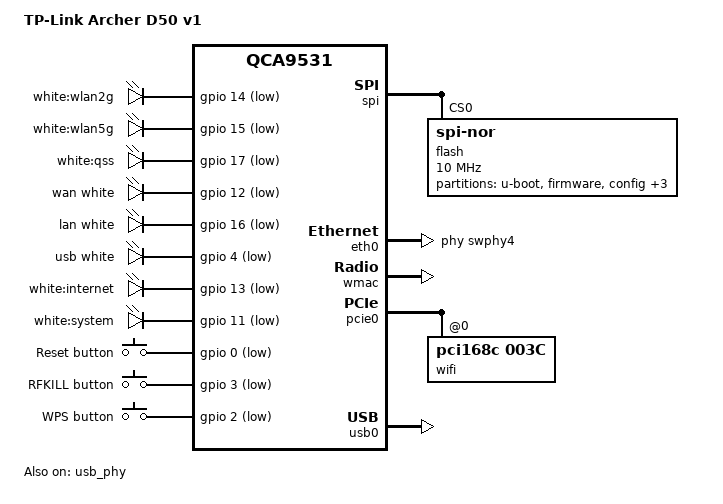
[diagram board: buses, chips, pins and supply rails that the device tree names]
// SPDX-License-Identifier: GPL-2.0-or-later OR MIT

#include "qca953x.dtsi"

#include <dt-bindings/gpio/gpio.h>
#include <dt-bindings/input/input.h>
#include <dt-bindings/leds/common.h>

/ {
	compatible = "tplink,archer-d50-v1", "qca,qca9531";
	model = "TP-Link Archer D50 v1";

	aliases {
		led-boot = &led_system;
		led-failsafe = &led_system;
		led-running = &led_system;
		led-upgrade = &led_system;
		label-mac-device = &wmac;
	};

	leds {
		compatible = "gpio-leds";

		wlan2g {
			label = "white:wlan2g";
			gpios = <&gpio 14 GPIO_ACTIVE_LOW>;
			linux,default-trigger = "phy0tpt";
		};

		wlan5g {
			label = "white:wlan5g";
			gpios = <&gpio 15 GPIO_ACTIVE_LOW>;
			linux,default-trigger = "phy1tpt";
		};

		qss {
			label = "white:qss";
			gpios = <&gpio 17 GPIO_ACTIVE_LOW>;
		};

		wan {
			function = LED_FUNCTION_WAN;
			color = <LED_COLOR_ID_WHITE>;
			gpios = <&gpio 12 GPIO_ACTIVE_LOW>;
		};

		lan {
			function = LED_FUNCTION_LAN;
			color = <LED_COLOR_ID_WHITE>;
			gpios = <&gpio 16 GPIO_ACTIVE_LOW>;
		};

		usb {
			function = LED_FUNCTION_USB;
			color = <LED_COLOR_ID_WHITE>;
			gpios = <&gpio 4 GPIO_ACTIVE_LOW>;
			trigger-sources = <&hub_port0>;
			linux,default-trigger = "usbport";
		};

		internet {
			label = "white:internet";
			gpios = <&gpio 13 GPIO_ACTIVE_LOW>;
		};

		led_system: system {
			label = "white:system";
			gpios = <&gpio 11 GPIO_ACTIVE_LOW>;
			default-state = "on";
		};
	};

	keys {
		compatible = "gpio-keys";

		reset {
			label = "Reset button";
			linux,code = <KEY_RESTART>;
			gpios = <&gpio 0 GPIO_ACTIVE_LOW>;
		};

		rfkill {
			label = "RFKILL button";
			linux,code = <KEY_RFKILL>;
			gpios = <&gpio 3 GPIO_ACTIVE_LOW>;
		};

		wps {
			label = "WPS button";
			linux,code = <KEY_WPS_BUTTON>;
			gpios = <&gpio 2 GPIO_ACTIVE_LOW>;
		};
	};
};

&spi {
	status = "okay";

	flash@0 {
		compatible = "jedec,spi-nor";
		reg = <0>;
		spi-max-frequency = <10000000>;

		partitions {
			compatible = "fixed-partitions";
			#address-cells = <1>;
			#size-cells = <1>;

			partition@0 {
				label = "u-boot";
				reg = <0x000000 0x020000>;
				read-only;
			};

			partition@20000 {
				compatible = "tplink,firmware";
				label = "firmware";
				reg = <0x020000 0x7a0000>;
			};

			partition@7c0000 {
				label = "config";
				reg = <0x7c0000 0x010000>;
				read-only;
			};

			romfile: partition@7d0000 {
				label = "romfile";
				reg = <0x7d0000 0x010000>;
				read-only;

				nvmem-layout {
					compatible = "fixed-layout";
					#address-cells = <1>;
					#size-cells = <1>;

					macaddr_romfile_f100: macaddr@f100 {
						compatible = "mac-base";
						reg = <0xf100 0x6>;
						#nvmem-cell-cells = <1>;
					};
				};
			};

			partition@7e0000 {
				label = "rom";
				reg = <0x7e0000 0x010000>;
				read-only;
			};

			art: partition@7f0000 {
				label = "art";
				reg = <0x7f0000 0x010000>;
				read-only;

				nvmem-layout {
					compatible = "fixed-layout";
					#address-cells = <1>;
					#size-cells = <1>;

					cal_art_5000: calibration@5000 {
						reg = <0x5000 0x844>;
					};
				};
			};
		};
	};
};

&eth0 {
	status = "okay";

	phy-handle = <&swphy4>;

	nvmem-cells = <&macaddr_romfile_f100 1>;
	nvmem-cell-names = "mac-address";
};

&eth1 {
	nvmem-cells = <&macaddr_romfile_f100 0>;
	nvmem-cell-names = "mac-address";
};

&wmac {
	status = "okay";

	mtd-cal-data = <&art 0x1000>;
	nvmem-cells = <&macaddr_romfile_f100 0>;
	nvmem-cell-names = "mac-address";
};

&pcie0 {
	status = "okay";

	wifi@0,0 {
		compatible = "pci168c,003c";
		reg = <0x0000 0 0 0 0>;
		nvmem-cells = <&cal_art_5000>, <&macaddr_romfile_f100 2>;
		nvmem-cell-names = "calibration", "mac-address";
	};
};

&usb_phy {
	status = "okay";
};

&usb0 {
	status = "okay";
};
